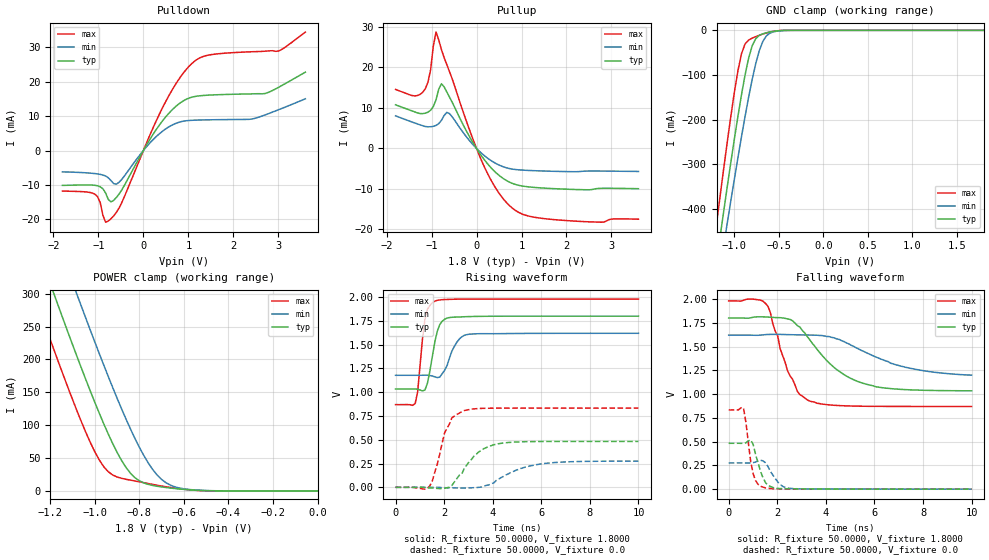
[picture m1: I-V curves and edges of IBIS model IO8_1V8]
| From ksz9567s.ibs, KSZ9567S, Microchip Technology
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|=================== Models Section -------------------------------------------|
|   Model IO8_1V8
[Model]  IO8_1V8
Model_type I/O
Polarity   Non-Inverting
Enable   Active-High
Vinl =   0.3000V
Vinh =   1.5000V
Vmeas =  0.9000V
Vref =   0.0V
C_comp   1.5000pF   1.4000pF   1.7000pF
[Temperature Range]   42.0000   0.1250k   -40.0000
[Voltage Range]   1.8000V   1.6200V   1.9800V
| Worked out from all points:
|   slope of the pulldown table from 0 to 0.27 V, typ, clamps not added: 46.7 ohm
|   slope of the pullup table from 0 to 0.27 V, typ, clamps not added: 65.8 ohm
|   GND clamp passes 1 mA (typ) near -0.50 V on its own axis
|   POWER clamp passes 1 mA (typ) near -0.54 V on its own axis
|   rising waveform, R_fixture 50.0000, V_fixture 1.8000: 20-80 % time 340ps typ, 446ps min, 265ps max; typ from 1.03 V to 1.8 V
|   rising waveform, R_fixture 50.0000, V_fixture 0.0: 20-80 % time 980ps typ, 1.39ns min, 595ps max; typ from 0 V to 0.482 V
|   falling waveform, R_fixture 50.0000, V_fixture 1.8000: 20-80 % time 1.75ns typ, 2.39ns min, 933ps max; typ from 1.8 V to 1.03 V
|   falling waveform, R_fixture 50.0000, V_fixture 0.0: 20-80 % time 374ps typ, 448ps min, 277ps max; typ from 0.482 V to 0 V
[Pulldown]
|Voltage   I(typ)   I(min)   I(max)
-1.8V     -10.14mA   -6.215mA   -11.79mA
-1.08V    -10.11mA   -6.705mA   -12.69mA
-960mV    -10.53mA   -6.938mA   -15.13mA
-840mV    -12.37mA   -7.427mA   -20.84mA
-780mV    -14.23mA   -7.928mA   -20.51mA
-540mV    -12.64mA   -9.224mA   -16.7mA
480mV     9.516mA    6.137mA    13.83mA
1.08V     15.52mA    8.78mA     25.31mA
1.5V      16.13mA    8.929mA    27.85mA
2.7V      16.56mA    10.32mA    28.87mA
3.06V     18.77mA    12.14mA    29.27mA
3.6V      22.77mA    15.03mA    34.42mA
[Pullup]
|Voltage   I(typ)   I(min)   I(max)
-1.8V     10.78mA    8.053mA    14.57mA
-1.38V    9.051mA    6.315mA    12.97mA
-1.14V    8.709mA    5.42mA     14.68mA
-1.02V    9.44mA     5.365mA    19.47mA
-960mV    10.34mA    5.462mA    25.34mA
-900mV    12.03mA    5.69mA     28.73mA
-780mV    15.98mA    6.944mA    24.4mA
-600mV    12.66mA    8.598mA    18.94mA
120mV     -1.984mA   -1.269mA   -3.221mA
720mV     -8.249mA   -4.935mA   -13.98mA
1.56V     -9.83mA    -5.593mA   -17.39mA
3.6V      -9.938mA   -5.677mA   -17.47mA
[GND_clamp]
|Voltage   I(typ)   I(min)   I(max)
-1.8V     -1.402A    -1.382A    -1.408A
-1.2V     -519mA     -585.5mA   -433.8mA
-1.16V    -462.4mA   -534.2mA   -371.8mA
-1.12V    -406.4mA   -483.2mA   -310.8mA
-1.08V    -351.1mA   -432.8mA   -251.2mA
-960mV    -193.1mA   -285.7mA   -90.91mA
-920mV    -144.7mA   -238.8mA   -52.72mA
-840mV    -62.73mA   -150.4mA   -21.84mA
-720mV    -11.33mA   -45.61mA   -11.09mA
-640mV    -5.456mA   -12.39mA   -5.874mA
-560mV    -2.331mA   -3.309mA   -2.15mA
1.8V      122.4pA    185.7nA    65.4pA
[POWER_clamp]
|Voltage   I(typ)   I(min)   I(max)
-1.8V     881.4mA    962mA      809.5mA
-1.28V    390.7mA    482.8mA    306.2mA
-1.26V    371.8mA    464.4mA    287.1mA
-1.18V    296.5mA    390.8mA    211.5mA
-1.08V    204.5mA    298.8mA    121.8mA
-980mV    118.3mA    209mA      47.15mA
-920mV    72.28mA    157.6mA    24.3mA
-820mV    20.24mA    80mA       15.13mA
-740mV    8.328mA    32.55mA    9.886mA
-660mV    4.362mA    8.687mA    5.257mA
-500mV    405.6uA    618.3uA    222.8uA
0V        122.4pA    2.413nA    84.24pA
[Ramp]
| variable   typ   min   max
dV/dt_r  0.2895/0.9139n   0.1653/1.4150n   0.4998/0.5878n
dV/dt_f  0.4593/1.7262n   0.2528/2.4570n   0.6661/0.8614n
R_load = 50.0000
[Rising Waveform]
R_fixture= 50.0000
V_fixture= 1.8000
V_fixture_min= 1.6200
V_fixture_max= 1.9800
|time   V(typ)   V(min)   V(max)
0s        1.033V     1.178V     869.8mV
810ps     1.034V     1.178V     882.5mV
910ps     1.032V     1.178V     1.006V
1.21ns    1.024V     1.179V     1.766V
1.62ns    1.534V     1.161V     1.958V
1.82ns    1.711V     1.159V     1.971V
2.02ns    1.768V     1.231V     1.975V
2.53ns    1.791V     1.529V     1.979V
2.93ns    1.795V     1.606V     1.98V
10ns      1.8V       1.62V      1.98V
[Rising Waveform]
R_fixture= 50.0000
V_fixture= 0.0
V_fixture_min= 0.0
V_fixture_max= 0.0
|time   V(typ)   V(min)   V(max)
0s        504.6nV    482.6nV    -986.4nV
1.41ns    -6.896mV   333.5uV    15.27mV
1.72ns    -11.94mV   44.96uV    245.5mV
2.02ns    -9.727mV   -4.012mV   575mV
2.32ns    19.3mV     -5.759mV   730.9mV
2.83ns    200.6mV    -7.969mV   807.8mV
3.43ns    374.1mV    -200.8uV   829.4mV
4.24ns    458.8mV    85.2mV     832.6mV
5.96ns    481.6mV    245mV      833mV
10ns      482.5mV    275.5mV    833mV
[Falling Waveform]
R_fixture= 50.0000
V_fixture= 1.8000
V_fixture_min= 1.6200
V_fixture_max= 1.9800
|time   V(typ)   V(min)   V(max)
0s        1.8V       1.62V      1.98V
1.21ns    1.813V     1.619V     1.992V
1.62ns    1.81V      1.627V     1.923V
2.42ns    1.791V     1.625V     1.248V
2.83ns    1.72V      1.623V     1.028V
3.33ns    1.574V     1.621V     927.1mV
4.34ns    1.28V      1.592V     882.5mV
5.45ns    1.12V      1.461V     872.5mV
7.27ns    1.047V     1.282V     870.1mV
10ns      1.034V     1.199V     869.8mV
[Falling Waveform]
R_fixture= 50.0000
V_fixture= 0.0
V_fixture_min= 0.0
V_fixture_max= 0.0
|time   V(typ)   V(min)   V(max)
0s        482.5mV    275.8mV    833mV
610ps     482.3mV    276mV      853.3mV
710ps     487.8mV    275.6mV    703.2mV
910ps     517mV      276mV      283.5mV
1.01ns    469.4mV    279.6mV    159.4mV
1.31ns    188.6mV    304.1mV    29.97mV
1.62ns    40.46mV    237.5mV    9.301mV
2.02ns    7.528mV    76.74mV    3.53mV
2.42ns    4.341mV    11.81mV    1.95mV
10ns      6.585uV    95.17uV    -1.037uV
